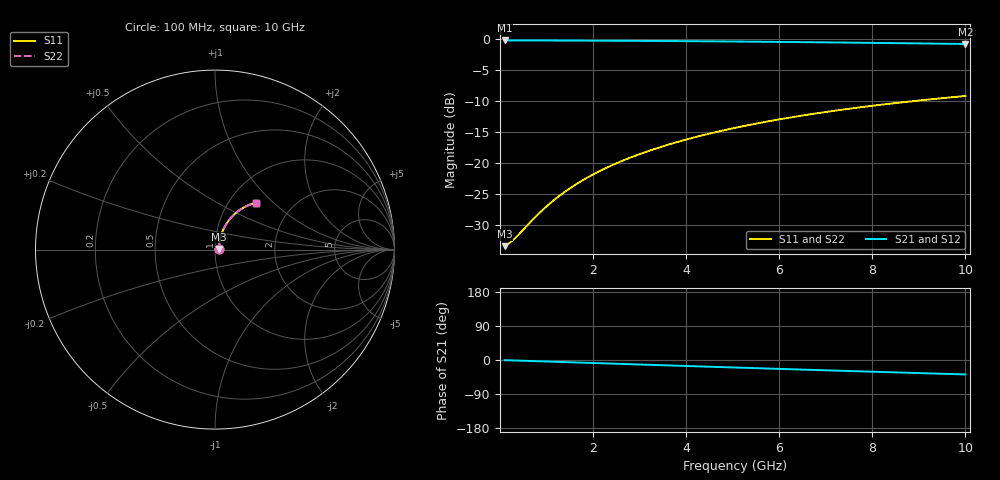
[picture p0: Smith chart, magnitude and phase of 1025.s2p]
# Hz S RI R 50.00
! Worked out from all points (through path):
!   100 points, 100 MHz to 10 GHz, reference 50 ohm
!   highest |S21| = -0.18 dB at 100 MHz (marker M1); lowest = -0.8 dB at 10 GHz (marker M2)
!   group delay of S21, straight-line fit = 10.6 ps
!   lowest |S11| = -33.4 dB at 100 MHz (marker M3), VSWR 1.04, Z = 52.1 + j0.394 ohm
!   |S11| at or under -10 dB: start of sweep to 8.861 GHz
!   |S22| runs from -33.4 to -9.2 dB; largest |S21 - S12| = 0
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1e8  0.021 0.00377  0.979 -0.00679  0.979 -0.00679  0.021 0.00377
2e8  0.0212 0.00754  0.9788 -0.0136  0.9788 -0.0136  0.0212 0.00754
3e8  0.0214 0.0113  0.9785 -0.0204  0.9785 -0.0204  0.0214 0.0113
8e8  0.0232 0.0301  0.9765 -0.0542  0.9765 -0.0542  0.0232 0.0301
9e8  0.0237 0.0338  0.9759 -0.061  0.9759 -0.061  0.0237 0.0338
1.1e9  0.0248 0.0413  0.9746 -0.0744  0.9746 -0.0744  0.0248 0.0413
1.4e9  0.0269 0.0523  0.9722 -0.0946  0.9722 -0.0946  0.0269 0.0523
1.6e9  0.0285 0.0597  0.9703 -0.108  0.9703 -0.108  0.0285 0.0597
1.8e9  0.0303 0.067  0.9682 -0.1213  0.9682 -0.1213  0.0303 0.067
2.1e9  0.0334 0.0778  0.9645 -0.1411  0.9645 -0.1411  0.0334 0.0778
2.5e9  0.0382 0.0919  0.9589 -0.1674  0.9589 -0.1674  0.0382 0.0919
2.9e9  0.0437 0.1057  0.9523 -0.1933  0.9523 -0.1933  0.0437 0.1057
3.4e9  0.0517 0.1225  0.9429 -0.2252  0.9429 -0.2252  0.0517 0.1225
3.8e9  0.0588 0.1355  0.9344 -0.2503  0.9344 -0.2503  0.0588 0.1355
4.2e9  0.0666 0.1479  0.9251 -0.2748  0.9251 -0.2748  0.0666 0.1479
4.6e9  0.075 0.1599  0.915 -0.299  0.915 -0.299  0.075 0.1599
5.1e9  0.0864 0.1741  0.9014 -0.3284  0.9014 -0.3284  0.0864 0.1741
5.9e9  0.1063 0.1951  0.8773 -0.3736  0.8773 -0.3736  0.1063 0.1951
6.7e9  0.128 0.2135  0.8508 -0.4164  0.8508 -0.4164  0.128 0.2135
7.5e9  0.1513 0.2294  0.8221 -0.4566  0.8221 -0.4566  0.1513 0.2294
8.4e9  0.1788 0.244  0.7876 -0.4988  0.7876 -0.4988  0.1788 0.244
1e10  0.23 0.2616  0.722 -0.5654  0.722 -0.5654  0.23 0.2616
